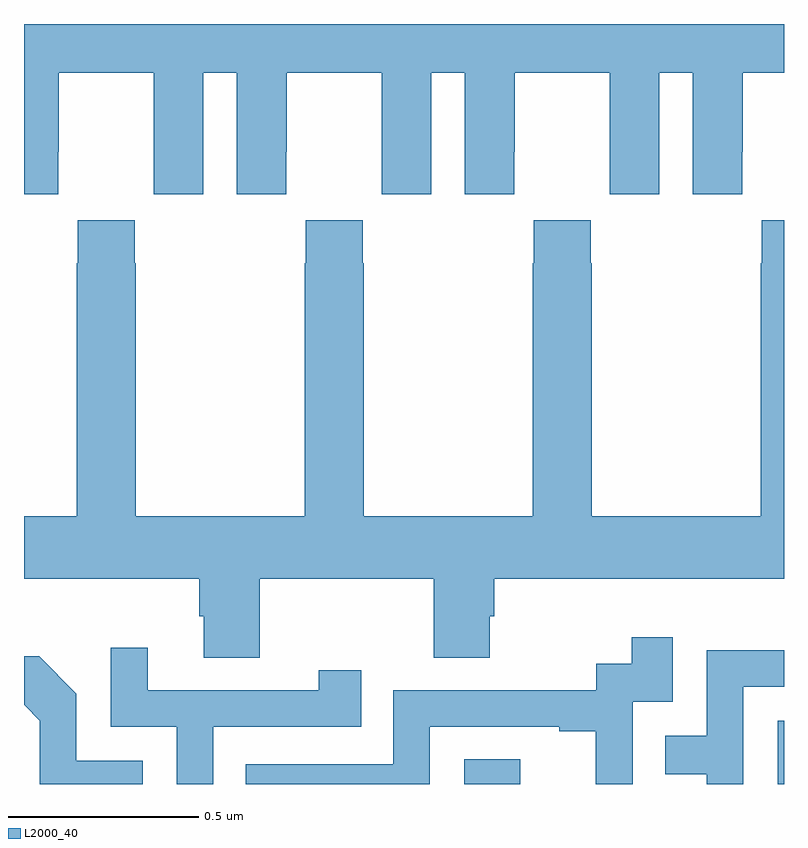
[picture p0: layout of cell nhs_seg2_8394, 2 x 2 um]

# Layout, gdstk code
import gdstk
lib = gdstk.Library(unit=1e-6, precision=1e-09)
def R(c, l, rs):  # rectangles x0, y0, x1, y1
    for r in rs: c.add(gdstk.rectangle(r[:2], r[2:], *l))
def P(c, l, *ps):  # polygons
    for p in ps: c.add(gdstk.Polygon(p, *l))
L2000_40 = (2000, 40)

nhs_seg2_8394 = lib.new_cell('nhs_seg2_8394')
R(nhs_seg2_8394, L2000_40, [(217.158,609.8,217.306,609.865), (217.983,609.8,218,609.966)])
P(nhs_seg2_8394, L2000_40, [(216.09,611.464),(216.091,611.464),(216.091,611.672),(216.341,611.672),(216.341,611.464),(216.342,611.464),(216.342,611.352),(216.472,611.352),(216.472,611.672),(216.56,611.672),(216.56,611.352),(216.69,611.352),(216.69,611.464),(216.691,611.464),(216.691,611.672),(216.941,611.672),(216.941,611.464),(216.942,611.464),(216.942,611.352),(217.072,611.352),(217.072,611.672),(217.16,611.672),(217.16,611.352),(217.29,611.352),(217.29,611.464),(217.291,611.464),(217.291,611.672),(217.541,611.672),(217.541,611.464),(217.542,611.464),(217.542,611.352),(217.672,611.352),(217.672,611.672),(217.76,611.672),(217.76,611.352),(217.89,611.352),(217.89,611.464),(217.891,611.464),(217.891,611.672),(218,611.672),(218,611.8),(216,611.8),(216,611.352),(216.09,611.352)],
  [(216.621,610.34),(217.078,610.34),(217.078,610.132),(217.225,610.132),(217.225,610.242),(217.238,610.242),(217.238,610.34),(218,610.34),(218,611.284),(217.941,611.284),(217.941,611.171),(217.939,611.171),(217.939,610.504),(217.494,610.504),(217.494,611.171),(217.491,611.171),(217.491,611.284),(217.341,611.284),(217.341,611.171),(217.339,611.171),(217.339,610.504),(216.894,610.504),(216.894,611.171),(216.891,611.171),(216.891,611.284),(216.741,611.284),(216.741,611.171),(216.739,611.171),(216.739,610.504),(216.294,610.504),(216.294,611.171),(216.291,611.171),(216.291,611.284),(216.141,611.284),(216.141,611.171),(216.139,611.171),(216.139,610.504),(216,610.504),(216,610.34),(216.461,610.34),(216.461,610.242),(216.473,610.242),(216.473,610.132),(216.621,610.132)],
  [(217.068,609.951),(217.409,609.951),(217.409,609.939),(217.505,609.939),(217.505,609.8),(217.602,609.8),(217.602,610.017),(217.707,610.017),(217.707,610.186),(217.599,610.186),(217.599,610.116),(217.506,610.116),(217.506,610.047),(216.972,610.047),(216.972,609.852),(216.583,609.852),(216.583,609.8),(217.068,609.8)],
  [(216.498,609.951),(216.887,609.951),(216.887,610.099),(216.776,610.099),(216.776,610.047),(216.325,610.047),(216.325,610.159),(216.228,610.159),(216.228,609.951),(216.402,609.951),(216.402,609.8),(216.498,609.8)],
  [(217.893,610.056),(218,610.056),(218,610.152),(217.797,610.152),(217.797,609.927),(217.687,609.927),(217.687,609.826),(217.797,609.826),(217.797,609.8),(217.893,609.8)],
  [(216.312,609.861),(216.138,609.861),(216.138,610.038),(216.04,610.136),(216,610.136),(216,610.008),(216.042,609.966),(216.042,609.8),(216.312,609.8)])

lib.write_gds('nhs_seg2_8394.gds')
